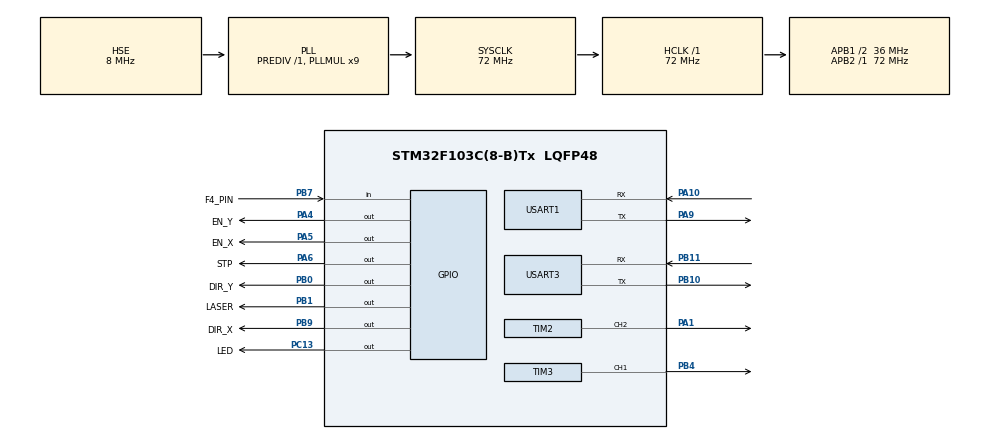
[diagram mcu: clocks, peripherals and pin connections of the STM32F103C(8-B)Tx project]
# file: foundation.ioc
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Mcu.Family=STM32F1
Mcu.Name=STM32F103C(8-B)Tx
Mcu.Package=LQFP48
NVIC.PriorityGroup=NVIC_PRIORITYGROUP_4
NVIC.TIM2_IRQn=true\:0\:0\:false\:false\:true\:true\:true\:true
NVIC.USART1_IRQn=true\:0\:0\:false\:false\:true\:true\:true\:true
NVIC.USART3_IRQn=true\:0\:0\:false\:false\:true\:true\:true\:true
PA1.Signal=S_TIM2_CH2
PA10.Mode=Asynchronous
PA10.Signal=USART1_RX
PA13.Mode=Serial_Wire
PA13.Signal=SYS_JTMS-SWDIO
PA14.Mode=Serial_Wire
PA14.Signal=SYS_JTCK-SWCLK
PA4.GPIO_Label=EN_Y
PA4.Signal=GPIO_Output
PA5.GPIO_Label=EN_X
PA5.GPIO_PuPd=GPIO_PULLUP
PA5.Signal=GPIO_Output
PA6.GPIO_Label=STP
PA6.Signal=GPIO_Output
PA9.Mode=Asynchronous
PA9.Signal=USART1_TX
PB0.GPIO_Label=DIR_Y
PB0.Signal=GPIO_Output
PB1.GPIO_Label=LASER
PB1.Signal=GPIO_Output
PB10.Mode=Asynchronous
PB10.Signal=USART3_TX
PB11.Mode=Asynchronous
PB11.Signal=USART3_RX
PB4.Signal=S_TIM3_CH1
PB7.GPIO_Label=F4_PIN
PB7.GPIO_PuPd=GPIO_PULLDOWN
PB7.Signal=GPIO_Input
PB9.GPIO_Label=DIR_X
PB9.Signal=GPIO_Output
PC13-TAMPER-RTC.GPIO_Label=LED
PC13-TAMPER-RTC.GPIO_PuPd=GPIO_PULLDOWN
PC13-TAMPER-RTC.Signal=GPIO_Output
PD0-OSC_IN.Mode=HSE-External-Oscillator
PD0-OSC_IN.Signal=RCC_OSC_IN
PD1-OSC_OUT.Mode=HSE-External-Oscillator
PD1-OSC_OUT.Signal=RCC_OSC_OUT
ProjectManager.HeapSize=0x200
ProjectManager.StackSize=0x400
ProjectManager.TargetToolchain=MDK-ARM V5.32
RCC.AHBFreq_Value=72000000
RCC.APB1CLKDivider=RCC_HCLK_DIV2
RCC.APB1Freq_Value=36000000
RCC.APB1TimFreq_Value=72000000
RCC.APB2Freq_Value=72000000
RCC.APB2TimFreq_Value=72000000
RCC.HCLKFreq_Value=72000000
RCC.PLLMUL=RCC_PLL_MUL9
RCC.PLLSourceVirtual=RCC_PLLSOURCE_HSE
RCC.SYSCLKFreq_VALUE=72000000
RCC.SYSCLKSource=RCC_SYSCLKSOURCE_PLLCLK
RCC.USBFreq_Value=72000000
SH.S_TIM2_CH2.0=TIM2_CH2,PWM Generation2 CH2
SH.S_TIM3_CH1.0=TIM3_CH1,PWM Generation1 CH1
TIM2.Channel-PWM\ Generation2\ CH2=TIM_CHANNEL_2
TIM2.Period=999
TIM2.Prescaler=159
TIM3.Channel-PWM\ Generation1\ CH1=TIM_CHANNEL_1
TIM3.Prescaler=159
USART1.VirtualMode=VM_ASYNC
USART3.VirtualMode=VM_ASYNC
board=custom

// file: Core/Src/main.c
/* USER CODE BEGIN Header */
/**
 ******************************************************************************
 * @file           : main.c
 * @brief          : Main program body
 ******************************************************************************
 * @attention
 *
 * Copyright (c) 2025 STMicroelectronics.
 * All rights reserved.
 *
 * This software is licensed under terms that can be found in the LICENSE file
 * in the root directory of this software component.
 * If no LICENSE file comes with this software, it is provided AS-IS.
 *
 ******************************************************************************
 */
/* USER CODE END Header */
#include "main.h"
#include "tim.h"
#include "usart.h"
#include "gpio.h"

/* USER CODE BEGIN Includes */

#include "STP.h"
#include "PID.H"
#include <stdio.h>
#include <math.h>
#include <stdbool.h>
#include <string.h>
#include "JY901S.H"

/* USER CODE END Includes */

/* USER CODE BEGIN PTD */

void uart3_send_string(const char *str)
{
	HAL_UART_Transmit(&huart3, (uint8_t *)str, strlen(str), HAL_MAX_DELAY);
}
/* USER CODE END PTD */

/* USER CODE BEGIN PV */

extern uint8_t g_ucUsart1ReceiveData;

extern pid_typedef pidx;
extern pid_typedef pidy;
// X轴
volatile uint32_t step_target_X = 0;
volatile uint32_t step_counter_X = 0;

// Y轴
volatile uint32_t step_target_Y = 0;
volatile uint32_t step_counter_Y = 0;

extern uint16_t center_x_pixel, now_x_pixel, now_y_pixel;
extern uint16_t center_y_pixel;
extern uint16_t target_x_pixel;
extern uint16_t target_y_pixel;

extern float freq_x;
extern float freq_y;

extern bool points_rcvd_now;
extern bool points_rcvd_target;
extern bool task3_start;

bool entered_from_task3 = false;

bool laser_locked = false;

float yaw = 0;
float last_yaw = 0;
float yaw_change = 0;
extern uint8_t flagjy;
extern uint8_t jy901s_rx_buffer;

// 任务标志位
uint8_t task_flag = 0;
bool PID_is_initialized = false;

#define NOW_X2 397
#define NOW_Y2 251

#define NOW_X3 404
#define NOW_Y3 240

#define TASK3_FINDING_SPD 20000

/* USER CODE END PV */

void SystemClock_Config(void);

int main(void)
{

  /* MCU Configuration--------------------------------------------------------*/

  /* Reset of all peripherals, Initializes the Flash interface and the Systick. */
  HAL_Init();

  /* Configure the system clock */
  SystemClock_Config();

  /* Initialize all configured peripherals */
  MX_GPIO_Init();
  MX_USART1_UART_Init();
  MX_TIM2_Init();
  MX_TIM3_Init();
  MX_USART3_UART_Init();
  /* USER CODE BEGIN 2 */

	__HAL_UART_ENABLE_IT(&huart1, UART_IT_RXNE);
	HAL_UART_Receive_IT(&huart1, &g_ucUsart1ReceiveData, 1);

	__HAL_UART_ENABLE_IT(&huart3, UART_IT_RXNE);
	HAL_UART_Receive_IT(&huart3, &jy901s_rx_buffer, 1);

	static uint8_t stable_counter = 0;

	unsigned char rx_buff[256] = {0};
	sprintf((char *)rx_buff, "hello_world!\r\n");
	uart1_send_string((char *)rx_buff);

	//	HAL_GPIO_TogglePin(LED_GPIO_Port, LED_Pin); // 翻转LED确认代码走到这里

	//// 转90°，方向逆时针
	//		STP_PWM_Start(90.0f, 0);
	// HAL_GPIO_WritePin(LASER_GPIO_Port, LASER_Pin , GPIO_PIN_SET);
	HAL_GPIO_WritePin(EN_X_GPIO_Port, EN_X_Pin, GPIO_PIN_RESET);
	HAL_GPIO_WritePin(EN_Y_GPIO_Port, EN_Y_Pin, GPIO_PIN_RESET);

  /* USER CODE END 2 */

  /* Infinite loop */
	while (1)
	{

    /* USER CODE BEGIN 3 */
		static uint8_t choosed_task = 0;
		if ((!choosed_task) && (HAL_GPIO_ReadPin(F4_PIN_GPIO_Port, F4_PIN_Pin))) {
			choosed_task = task_flag;
		}
		////JY901S_code开始
		//		if (JY901S_Decode())
		//		{
		//			static float yaw_read = 0;
		//			static float last_yaw_read = 0;
		//			yaw_read = JY901S_GetYaw();
		//
		//			yaw = yaw_read;
		//			if (last_yaw_read - yaw_read > 300) {
		//				yaw += 360;
		//			}
		//
		//			yaw_change = yaw - last_yaw;
		//
		//			last_yaw = yaw;
		//			last_yaw_read = yaw_read;
		//
		//			if(flagjy){
		//				flagjy = 0;
		//			char msg2[32];
		//							 sprintf(msg2, "yaw_read=%f\r\n",
		//										yaw_read);
		//							uart3_send_string((char *)msg2);
		//							memset(msg2,0,32);}
		//		}
		//		HAL_Delay(5);

		if (choosed_task == 2)
		{
			if (!PID_is_initialized) {
				X_PID_init(0.15, 0, 0.004);
				Y_PID_init(0.08, 0, 0.002);
				PID_is_initialized = true;
			}

			// 如果目标坐标未更新，停电机，防止乱跑
			if (!points_rcvd_target)
			{
				HAL_GPIO_WritePin(EN_X_GPIO_Port, EN_X_Pin, GPIO_PIN_RESET);
				HAL_GPIO_WritePin(EN_Y_GPIO_Port, EN_Y_Pin, GPIO_PIN_RESET);

				HAL_TIM_PWM_Stop(&htim2, TIM_CHANNEL_2);
				HAL_TIM_PWM_Stop(&htim3, TIM_CHANNEL_1);
				continue; // 直接跳过本轮循环
			}

			if (points_rcvd_target)
			{
				// 计算 PID 输出
				float out_x = PIDx_realize((entered_from_task3 ? NOW_X3 : NOW_X2), target_x_pixel);
				float out_y = PIDy_realize((entered_from_task3 ? NOW_Y3 : NOW_Y2), target_y_pixel);
				// 当两轴都进入死区，视为命中
				if (fabs(pidx.err) < 4.0f && fabs(pidy.err) < 4.0f)
				{
					HAL_GPIO_WritePin(LASER_GPIO_Port, LASER_Pin, GPIO_PIN_SET);
					points_rcvd_target = false;
					//							stable_counter++;
					//								if (stable_counter >= 3) // 连续 3 帧都在误差范围内
					//								{
					pidx.err_sum = 0;
					pidy.err_sum = 0;
					pidx.err = 0;
					pidy.err = 0;

					HAL_GPIO_WritePin(EN_X_GPIO_Port, EN_X_Pin, GPIO_PIN_RESET);
					HAL_GPIO_WritePin(EN_Y_GPIO_Port, EN_Y_Pin, GPIO_PIN_RESET);
					HAL_TIM_PWM_Stop(&htim2, TIM_CHANNEL_2);
					HAL_TIM_PWM_Stop(&htim3, TIM_CHANNEL_1);
					choosed_task = 0;
					stable_counter = 0;
					laser_locked = true;
					//									HAL_Delay(2000);
					//									HAL_GPIO_WritePin(LASER_GPIO_Port, LASER_Pin , GPIO_PIN_RESET);

					//					char msg_hit[64];
					//					sprintf(msg_hit, ">>> HIT target STABLE\r\n");
					//					uart1_send_string(msg_hit);
					//							}
				}
				else
				{
					stable_counter = 0;
					// 正在接近	中
					X_STP_PWM_SpeedControl(out_x);
					Y_STP_PWM_SpeedControl(out_y);
				}
			}
		}

		if (choosed_task == 3)
		{
			if (!points_rcvd_target)
			{
				STP_PWM_Start_X(1500, 1);
				delay_ms(400);
				STP_PWM_Start_X(TASK3_FINDING_SPD, 1);
				delay_ms(300);
			}

			if (points_rcvd_target)
			{
				entered_from_task3 = true;
				choosed_task = 2;
			}

		}

		if (choosed_task == 4)
		{
			if (!points_rcvd_target)
			{
				STP_PWM_Start_X(2000, 0);
				delay_ms(400);
				STP_PWM_Start_X(TASK3_FINDING_SPD, 0);
				delay_ms(290);
			}

			if (points_rcvd_target)
			{
				entered_from_task3 = true;
				choosed_task = 2;
			}

		}

		if (points_rcvd_target == true)
		{
			points_rcvd_target = false;
			char msg2[85];
			sprintf(msg2, "target_x_pixel=%d,target_y_pixel=%d,freq_x=%f,freq_y=%f\r\n",
					target_x_pixel, target_y_pixel, freq_x, freq_y);
			uart1_send_string((char *)msg2);
			memset(msg2, 0, 85);
		}

		HAL_Delay(1); // 控制刷新频率

	}
  /* USER CODE END 3 */
}

void SystemClock_Config(void)
{
  RCC_OscInitTypeDef RCC_OscInitStruct = {0};
  RCC_ClkInitTypeDef RCC_ClkInitStruct = {0};

  /** Initializes the RCC Oscillators according to the specified parameters
  * in the RCC_OscInitTypeDef structure.
  */
  RCC_OscInitStruct.OscillatorType = RCC_OSCILLATORTYPE_HSE;
  RCC_OscInitStruct.HSEState = RCC_HSE_ON;
  RCC_OscInitStruct.HSEPredivValue = RCC_HSE_PREDIV_DIV1;
  RCC_OscInitStruct.HSIState = RCC_HSI_ON;
  RCC_OscInitStruct.PLL.PLLState = RCC_PLL_ON;
  RCC_OscInitStruct.PLL.PLLSource = RCC_PLLSOURCE_HSE;
  RCC_OscInitStruct.PLL.PLLMUL = RCC_PLL_MUL9;
  if (HAL_RCC_OscConfig(&RCC_OscInitStruct) != HAL_OK)
  {
    Error_Handler();
  }

  /** Initializes the CPU, AHB and APB buses clocks
  */
  RCC_ClkInitStruct.ClockType = RCC_CLOCKTYPE_HCLK|RCC_CLOCKTYPE_SYSCLK
                              |RCC_CLOCKTYPE_PCLK1|RCC_CLOCKTYPE_PCLK2;
  RCC_ClkInitStruct.SYSCLKSource = RCC_SYSCLKSOURCE_PLLCLK;
  RCC_ClkInitStruct.AHBCLKDivider = RCC_SYSCLK_DIV1;
  RCC_ClkInitStruct.APB1CLKDivider = RCC_HCLK_DIV2;
  RCC_ClkInitStruct.APB2CLKDivider = RCC_HCLK_DIV1;

  if (HAL_RCC_ClockConfig(&RCC_ClkInitStruct, FLASH_LATENCY_2) != HAL_OK)
  {
    Error_Handler();
  }
}

void Error_Handler(void)
{
	__disable_irq();
	while (1)
	{
	}
}
